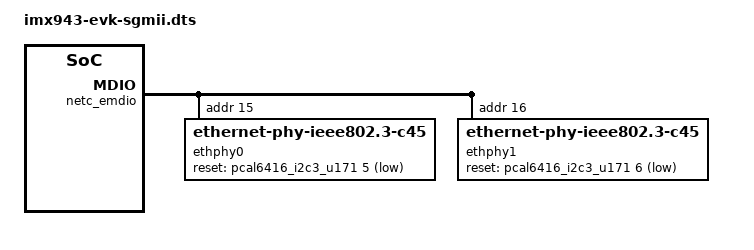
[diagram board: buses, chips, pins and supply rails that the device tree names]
// SPDX-License-Identifier: (GPL-2.0+ OR MIT)
/*
 * Copyright 2025 NXP
 */

#include "imx943-evk.dts"

/delete-node/ &ethphy0;
/delete-node/ &ethphy1;

&netc_emdio {
	ethphy0: ethernet-phy@f {
		compatible = "ethernet-phy-ieee802.3-c45";
		reg = <0xf>;
		reset-gpios = <&pcal6416_i2c3_u171 5 GPIO_ACTIVE_LOW>;
		reset-assert-us = <10000>;
		reset-deassert-us = <80000>;
	};

	ethphy1: ethernet-phy@10 {
		compatible = "ethernet-phy-ieee802.3-c45";
		reg = <0x10>;
		reset-gpios = <&pcal6416_i2c3_u171 6 GPIO_ACTIVE_LOW>;
		reset-assert-us = <10000>;
		reset-deassert-us = <80000>;
	};
};

&netc_switch_port0 {
	managed = "in-band-status";
	phy-mode = "sgmii";
};

&netc_switch_port1 {
	managed = "in-band-status";
	phy-mode = "sgmii";
};

&scmi_iomuxc {
	pinctrl_switch: switchgrp {
		fsl,pins = <
			IMX94_PAD_ETH2_TXD3__NETC_PINMUX_ETH2_TXD3		0x57e
			IMX94_PAD_ETH2_TXD2__NETC_PINMUX_ETH2_TXD2		0x57e
			IMX94_PAD_ETH2_TXD1__NETC_PINMUX_ETH2_TXD1		0x57e
			IMX94_PAD_ETH2_TXD0__NETC_PINMUX_ETH2_TXD0		0x57e
			IMX94_PAD_ETH2_TX_CTL__NETC_PINMUX_ETH2_TX_CTL		0x57e
			IMX94_PAD_ETH2_TX_CLK__NETC_PINMUX_ETH2_TX_CLK		0x5fe
			IMX94_PAD_ETH2_RX_CTL__NETC_PINMUX_ETH2_RX_CTL		0x57e
			IMX94_PAD_ETH2_RX_CLK__NETC_PINMUX_ETH2_RX_CLK		0x5fe
			IMX94_PAD_ETH2_RXD0__NETC_PINMUX_ETH2_RXD0		0x57e
			IMX94_PAD_ETH2_RXD1__NETC_PINMUX_ETH2_RXD1		0x57e
			IMX94_PAD_ETH2_RXD2__NETC_PINMUX_ETH2_RXD2		0x57e
			IMX94_PAD_ETH2_RXD3__NETC_PINMUX_ETH2_RXD3		0x57e
		>;
	};
};
